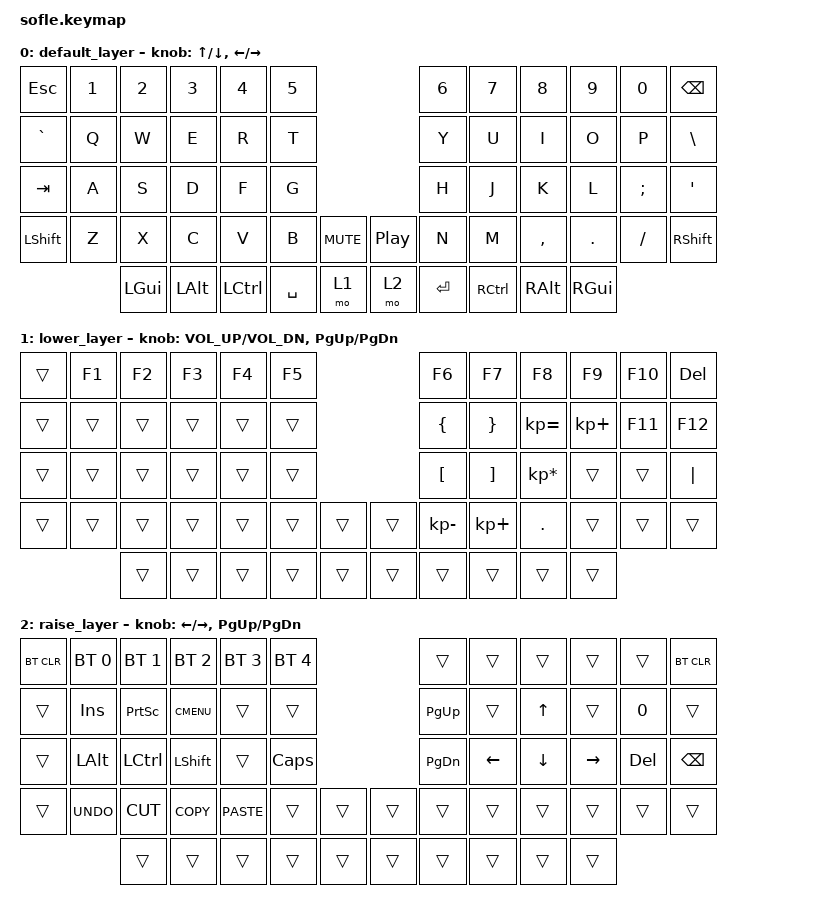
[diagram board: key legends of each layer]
/*
 * Copyright (c) 2020 The ZMK Contributors
 *
 * SPDX-License-Identifier: MIT
 */

#include <behaviors.dtsi>
#include <dt-bindings/zmk/keys.h>
#include <dt-bindings/zmk/bt.h>

 /
 {
    keymap {
        compatible = "zmk,keymap";

        default_layer {
            // ------------------------------------------------------------------------------------------------------------
            // |  `    |  1  |  2  |  3   |  4   |  5   |                   |  6   |  7    |  8    |  9   |   0   |  BSPC |
            // |  ESC  |  Q  |  W  |  E   |  R   |  T   |                   |  Y   |  U    |  I    |  O   |   P   |  BSLH |
            // |  TAB  |  A  |  S  |  D   |  F   |  G   |                   |  H   |  J    |  K    |  L   |   ;   |   '   |
            // | SHIFT |  Z  |  X  |  C   |  V   |  B   |  MUTE  |  |       |  N   |  M    |  ,    |  .   |   /   | SHIFT |
            //               | GUI | ALT  | CTRL | LOWER|  ENTER |  | SPACE | RAISE| CTRL  | ALT   | GUI  |
            bindings = <
&kp ESC     &kp N1 &kp N2   &kp N3   &kp N4    &kp N5                    &kp N6 &kp N7    &kp N8    &kp N9   &kp N0   &kp BSPC
&kp GRAVE   &kp Q  &kp W    &kp E    &kp R     &kp T                     &kp Y  &kp U     &kp I     &kp O    &kp P    &kp BSLH
&kp TAB     &kp A  &kp S    &kp D    &kp F     &kp G                     &kp H  &kp J     &kp K     &kp L    &kp SEMI &kp SQT
&kp LSHFT   &kp Z  &kp X    &kp C    &kp V     &kp B   &kp C_MUTE &kp C_PLAY_PAUSE  &kp N  &kp M     &kp COMMA &kp DOT  &kp FSLH &kp RSHFT
                 &kp LGUI &kp LALT &kp LCTRL &kp SPACE &mo 1      &mo 2  &kp RET   &kp RCTRL &kp RALT  &kp RGUI
            >;

            sensor-bindings = <&inc_dec_kp UP DOWN &inc_dec_kp LEFT RIGHT>;
        };

        lower_layer {
            // TODO: Some binds are waiting for shifted keycode support.
            // ------------------------------------------------------------------------------------------------------------
            // |       |  F1 |  F2 |  F3  |  F4  |  F5  |                   |  F6  |  F7   |  F8   |  F9  |  F10  |  DEL  |
            // | `     |   1 |   2 |   3  |   4  |   5  |                   |   6  |   7   |   8   |   9  |  F11  |  F12  |
            // |       |  !  |  @  |  #   |  $   |  %   |                   |  ^   |  &    |  *    |  (   |   )   |   |   |
            // |       |  =  |  -  |  +   |  {   |  }   |        |  |       |  [   |  ]    |  ;    |  :   |   \   |       |
            //               |     |      |      |      |        |  |       |      |       |       |      |
            bindings = <
&trans    &kp F1    &kp F2    &kp F3         &kp F4         &kp F5                      &kp F6        &kp F7      &kp F8          &kp F9       &kp F10   &kp DEL
&trans    &trans    &trans    &trans         &trans         &trans                      &kp LBRC      &kp RBRC    &kp KP_EQUAL    &kp KP_PLUS  &kp F11    &kp F12
&trans    &trans    &trans    &trans         &trans         &trans                      &kp LBKT      &kp RBKT    &kp KP_MULTIPLY &trans       &trans     &kp PIPE
&trans    &trans    &trans    &trans         &trans         &trans    &trans   &trans   &kp KP_MINUS  &kp KP_PLUS &kp DOT         &trans       &trans     &trans
                    &trans    &trans         &trans         &trans    &trans   &trans   &trans        &trans      &trans          &trans
            >;

            sensor-bindings = <&inc_dec_kp C_VOL_UP C_VOL_DN &inc_dec_kp PG_UP PG_DN>;
        };

        raise_layer {
            // ------------------------------------------------------------------------------------------------------------
            // |BTCLR| BT1  | BT2  |  BT3  |  BT4  |  BT5 |                |      |      |       |      |       |       |
            // |     | INS  | PSCR | GUI   |       |      |                | PGUP |      |   ^   |      |       |       |
            // |     | ALT  | CTRL | SHIFT |       | CAPS |                | PGDN |   <- |   v   |  ->  |  DEL  | BKSPC |
            // |     | UNDO | CUT  | COPY  | PASTE |      |      |  |      |      |      |       |      |       |       |
            //              |      |       |       |      |      |  |      |      |      |       |      |
            bindings = <
&bt BT_CLR &bt BT_SEL 0 &bt BT_SEL 1 &bt BT_SEL 2 &bt BT_SEL 3 &bt BT_SEL 4             &trans    &trans    &trans   &trans    &trans  &bt BT_CLR
&trans     &kp INS      &kp PSCRN    &kp K_CMENU  &trans       &trans                   &kp PG_UP &trans    &kp UP   &trans    &kp N0  &trans
&trans     &kp LALT     &kp LCTRL    &kp LSHFT    &trans       &kp CLCK                 &kp PG_DN &kp LEFT  &kp DOWN &kp RIGHT &kp DEL &kp BSPC
&trans     &kp K_UNDO   &kp K_CUT    &kp K_COPY   &kp K_PASTE  &trans  &trans   &trans  &trans    &trans    &trans   &trans    &trans  &trans
                        &trans       &trans       &trans       &trans  &trans   &trans  &trans    &trans    &trans   &trans
            >;

            sensor-bindings = <&inc_dec_kp LEFT RIGHT &inc_dec_kp PG_UP PG_DN>;
        };
    };
};
